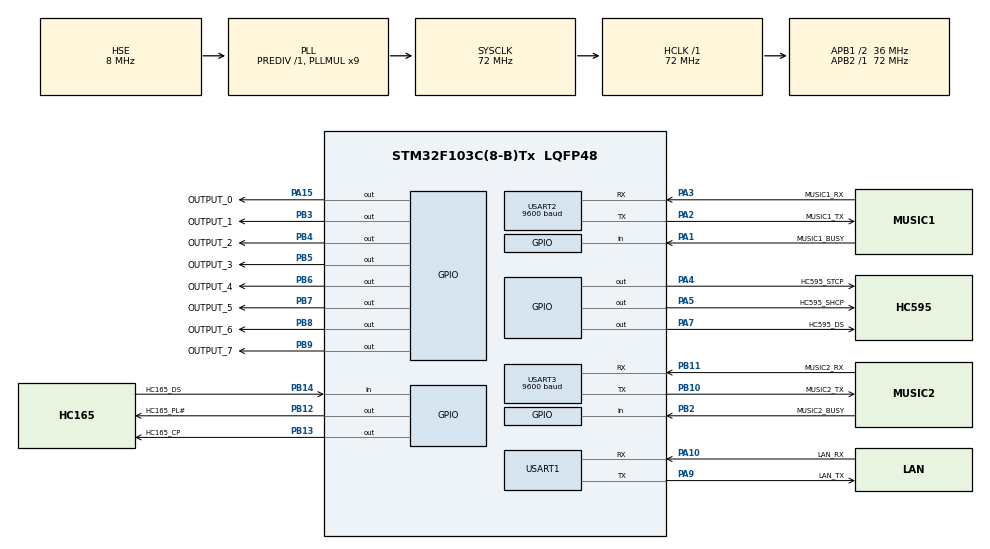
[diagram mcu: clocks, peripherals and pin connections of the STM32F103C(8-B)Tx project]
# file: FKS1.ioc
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FREERTOS.Tasks01=defaultTask,0,128,StartDefaultTask,Default,NULL,Dynamic,NULL,NULL;Uart1ReadHandle,3,128,Uart1ReadHandler,Default,NULL,Dynamic,NULL,NULL;GPIOTask,-1,128,StartGPIOTask,As weak,NULL,Dynamic,NULL,NULL;musicTask,-3,256,StartMusicTask,As weak,NULL,Dynamic,NULL,NULL;myASCTask,-3,128,StartASCTask,As weak,NULL,Dynamic,NULL,NULL;GameFlagTask,-3,128,StartGameFlagTask,As weak,NULL,Dynamic,NULL,NULL;GameTask,-3,128,StartGameTask,As weak,NULL,Dynamic,NULL,NULL;BoxTask,-3,128,StartBoxTask,As weak,NULL,Dynamic,NULL,NULL;DoorTask,-3,128,StartDoorTask,As weak,NULL,Dynamic,NULL,NULL
FREERTOS.configTOTAL_HEAP_SIZE=11264
FREERTOS.configUSE_NEWLIB_REENTRANT=0
Mcu.Family=STM32F1
Mcu.Name=STM32F103C(8-B)Tx
Mcu.Package=LQFP48
NVIC.PriorityGroup=NVIC_PRIORITYGROUP_4
NVIC.TIM2_IRQn=true\:15\:0\:false\:false\:true\:false\:false\:true\:true
NVIC.TimeBase=TIM2_IRQn
NVIC.TimeBaseIP=TIM2
NVIC.USART1_IRQn=true\:5\:0\:false\:false\:true\:true\:true\:true\:true
NVIC.USART2_IRQn=true\:5\:0\:false\:false\:true\:true\:true\:true\:true
NVIC.USART3_IRQn=true\:5\:0\:false\:false\:true\:true\:true\:true\:true
PA1.GPIO_Label=MUSIC1_BUSY
PA1.GPIO_PuPd=GPIO_PULLUP
PA1.Signal=GPIO_Input
PA10.GPIO_Label=LAN_RX
PA10.Mode=Asynchronous
PA10.Signal=USART1_RX
PA13.GPIO_Label=SWDIO
PA13.Mode=Serial_Wire
PA13.Signal=SYS_JTMS-SWDIO
PA14.GPIO_Label=SWCLK
PA14.Mode=Serial_Wire
PA14.Signal=SYS_JTCK-SWCLK
PA15.GPIO_Label=OUTPUT_0
PA15.Signal=GPIO_Output
PA2.GPIO_Label=MUSIC1_TX
PA2.Mode=Asynchronous
PA2.Signal=USART2_TX
PA3.GPIO_Label=MUSIC1_RX
PA3.Mode=Asynchronous
PA3.Signal=USART2_RX
PA4.GPIO_Label=HC595_STCP
PA4.Signal=GPIO_Output
PA5.GPIO_Label=HC595_SHCP
PA5.Signal=GPIO_Output
PA7.GPIO_Label=HC595_DS
PA7.Signal=GPIO_Output
PA9.GPIO_Label=LAN_TX
PA9.Mode=Asynchronous
PA9.Signal=USART1_TX
PB10.GPIO_Label=MUSIC2_TX
PB10.Mode=Asynchronous
PB10.Signal=USART3_TX
PB11.GPIO_Label=MUSIC2_RX
PB11.Mode=Asynchronous
PB11.Signal=USART3_RX
PB12.GPIO_Label=HC165_PL\#
PB12.Signal=GPIO_Output
PB13.GPIO_Label=HC165_CP
PB13.Signal=GPIO_Output
PB14.GPIO_Label=HC165_DS
PB14.GPIO_PuPd=GPIO_PULLUP
PB14.Signal=GPIO_Input
PB2.GPIO_Label=MUSIC2_BUSY
PB2.GPIO_PuPd=GPIO_PULLUP
PB2.Signal=GPIO_Input
PB3.GPIO_Label=OUTPUT_1
PB3.Signal=GPIO_Output
PB4.GPIO_Label=OUTPUT_2
PB4.Signal=GPIO_Output
PB5.GPIO_Label=OUTPUT_3
PB5.Signal=GPIO_Output
PB6.GPIO_Label=OUTPUT_4
PB6.Signal=GPIO_Output
PB7.GPIO_Label=OUTPUT_5
PB7.Signal=GPIO_Output
PB8.GPIO_Label=OUTPUT_6
PB8.Signal=GPIO_Output
PB9.GPIO_Label=OUTPUT_7
PB9.Signal=GPIO_Output
PD0-OSC_IN.GPIO_Label=OSC8_IN
PD0-OSC_IN.Mode=HSE-External-Oscillator
PD0-OSC_IN.Signal=RCC_OSC_IN
PD1-OSC_OUT.GPIO_Label=OSC8_OUT
PD1-OSC_OUT.Mode=HSE-External-Oscillator
PD1-OSC_OUT.Signal=RCC_OSC_OUT
ProjectManager.HeapSize=0x200
ProjectManager.StackSize=0x400
ProjectManager.TargetToolchain=STM32CubeIDE
RCC.AHBFreq_Value=72000000
RCC.APB1CLKDivider=RCC_HCLK_DIV2
RCC.APB1Freq_Value=36000000
RCC.APB1TimFreq_Value=72000000
RCC.APB2Freq_Value=72000000
RCC.APB2TimFreq_Value=72000000
RCC.HCLKFreq_Value=72000000
RCC.PLLMUL=RCC_PLL_MUL9
RCC.PLLSourceVirtual=RCC_PLLSOURCE_HSE
RCC.SYSCLKFreq_VALUE=72000000
RCC.SYSCLKSource=RCC_SYSCLKSOURCE_PLLCLK
RCC.USBFreq_Value=72000000
USART1.VirtualMode=VM_ASYNC
USART2.BaudRate=9600
USART2.VirtualMode=VM_ASYNC
USART3.BaudRate=9600
USART3.VirtualMode=VM_ASYNC
VP_FREERTOS_VS_CMSIS_V1.Mode=CMSIS_V1
VP_RTC_VS_RTC_Activate.Mode=RTC_Enabled
VP_RTC_VS_RTC_Calendar.Mode=RTC_Calendar
VP_SYS_VS_tim2.Mode=TIM2
board=custom

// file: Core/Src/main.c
/* USER CODE BEGIN Header */
/**
  ******************************************************************************
  * @file           : main.c
  * @brief          : Main program body
  ******************************************************************************
  * @attention
  *
  * Copyright (c) 2023 STMicroelectronics.
  * All rights reserved.
  *
  * This software is licensed under terms that can be found in the LICENSE file
  * in the root directory of this software component.
  * If no LICENSE file comes with this software, it is provided AS-IS.
  *
  ******************************************************************************
  */
/* USER CODE END Header */
#include "main.h"
#include "cmsis_os.h"
#include "rtc.h"
#include "usart.h"
#include "gpio.h"

/* USER CODE BEGIN PV */

uint8_t uart1RxBuffer[32];
uint8_t uart1RxIndex = 0;

uint8_t uart2RxBuffer[32];
uint8_t uart2RxIndex = 0;

uint8_t uart3RxBuffer[32];
uint8_t uart3RxIndex = 0;

/* USER CODE END PV */

void SystemClock_Config(void);
void MX_FREERTOS_Init(void);

int main(void)
{

  /* MCU Configuration--------------------------------------------------------*/

  /* Reset of all peripherals, Initializes the Flash interface and the Systick. */
  HAL_Init();

  /* Configure the system clock */
  SystemClock_Config();

  /* Initialize all configured peripherals */
  MX_GPIO_Init();
  MX_USART1_UART_Init();
  MX_USART2_UART_Init();
  MX_USART3_UART_Init();
  MX_RTC_Init();
  /* USER CODE BEGIN 2 */

    //START UART RECEIVE IT
    HAL_UART_Receive_IT(&huart1, uart1RxBuffer, 1);
    HAL_UART_Receive_IT(&huart2, uart2RxBuffer, 1);
    HAL_UART_Receive_IT(&huart3, uart3RxBuffer, 1);

  /* USER CODE END 2 */

  /* Call init function for freertos objects (in freertos.c) */
  MX_FREERTOS_Init();

  /* Start scheduler */
  osKernelStart();

  /* We should never get here as control is now taken by the scheduler */
  /* Infinite loop */
  while (1)
  {

  }
}

void SystemClock_Config(void)
{
  RCC_OscInitTypeDef RCC_OscInitStruct = {0};
  RCC_ClkInitTypeDef RCC_ClkInitStruct = {0};
  RCC_PeriphCLKInitTypeDef PeriphClkInit = {0};

  /** Initializes the RCC Oscillators according to the specified parameters
  * in the RCC_OscInitTypeDef structure.
  */
  RCC_OscInitStruct.OscillatorType = RCC_OSCILLATORTYPE_LSI|RCC_OSCILLATORTYPE_HSE;
  RCC_OscInitStruct.HSEState = RCC_HSE_ON;
  RCC_OscInitStruct.HSEPredivValue = RCC_HSE_PREDIV_DIV1;
  RCC_OscInitStruct.HSIState = RCC_HSI_ON;
  RCC_OscInitStruct.LSIState = RCC_LSI_ON;
  RCC_OscInitStruct.PLL.PLLState = RCC_PLL_ON;
  RCC_OscInitStruct.PLL.PLLSource = RCC_PLLSOURCE_HSE;
  RCC_OscInitStruct.PLL.PLLMUL = RCC_PLL_MUL9;
  if (HAL_RCC_OscConfig(&RCC_OscInitStruct) != HAL_OK)
  {
    Error_Handler();
  }

  /** Initializes the CPU, AHB and APB buses clocks
  */
  RCC_ClkInitStruct.ClockType = RCC_CLOCKTYPE_HCLK|RCC_CLOCKTYPE_SYSCLK
                              |RCC_CLOCKTYPE_PCLK1|RCC_CLOCKTYPE_PCLK2;
  RCC_ClkInitStruct.SYSCLKSource = RCC_SYSCLKSOURCE_PLLCLK;
  RCC_ClkInitStruct.AHBCLKDivider = RCC_SYSCLK_DIV1;
  RCC_ClkInitStruct.APB1CLKDivider = RCC_HCLK_DIV2;
  RCC_ClkInitStruct.APB2CLKDivider = RCC_HCLK_DIV1;

  if (HAL_RCC_ClockConfig(&RCC_ClkInitStruct, FLASH_LATENCY_2) != HAL_OK)
  {
    Error_Handler();
  }
  PeriphClkInit.PeriphClockSelection = RCC_PERIPHCLK_RTC;
  PeriphClkInit.RTCClockSelection = RCC_RTCCLKSOURCE_LSI;
  if (HAL_RCCEx_PeriphCLKConfig(&PeriphClkInit) != HAL_OK)
  {
    Error_Handler();
  }
}

void HAL_TIM_PeriodElapsedCallback(TIM_HandleTypeDef *htim)
{
  if (htim->Instance == TIM2) {
    HAL_IncTick();
  }
}

void Error_Handler(void)
{
  __disable_irq();
  while (1)
  {
  }
}

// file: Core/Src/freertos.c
/* USER CODE BEGIN Header */
/**
  ******************************************************************************
  * File Name          : freertos.c
  * Description        : Code for freertos applications
  ******************************************************************************
  * @attention
  *
  * Copyright (c) 2023 STMicroelectronics.
  * All rights reserved.
  *
  * This software is licensed under terms that can be found in the LICENSE file
  * in the root directory of this software component.
  * If no LICENSE file comes with this software, it is provided AS-IS.
  *
  ******************************************************************************
  */
/* USER CODE END Header */

#include "FreeRTOS.h"
#include "task.h"
#include "main.h"
#include "cmsis_os.h"

/* USER CODE BEGIN Includes */
#include <string.h>
#include "queue.h"
#include "gpio.h"
#include "music.h"
#include "user.h"
/* USER CODE END Includes */

/* USER CODE BEGIN PD */
#define CMD_OUTPUT 0x02
#define CMD_MUSIC1 0x03
#define CMD_MUSIC2 0x04
/* USER CODE END PD */

/* USER CODE BEGIN Variables */

QueueHandle_t Uart1RxMsgQueueHandle;
QueueHandle_t OutputMessageQueueHandle;
QueueHandle_t MusicMessageQueueHandle;
QueueHandle_t MusicUartMessageQueueHandle;
QueueHandle_t GameMessageQueueHandle;

SemaphoreHandle_t xConnectSemaphore;

//Input Event 0-15Bit UP  16-31 DOWN
EventGroupHandle_t InputEventGroup[(INPUT_NUM / 24) + 1];

//Music Event 0-15Bit Music1  16-31Bit Music2
EventGroupHandle_t MusicEventGroup;

/* USER CODE END Variables */
osThreadId defaultTaskHandle;
osThreadId Uart1ReadHandleHandle;
osThreadId GPIOTaskHandle;
osThreadId musicTaskHandle;
osThreadId myASCTaskHandle;
osThreadId GameFlagTaskHandle;
osThreadId GameTaskHandle;

void StartDefaultTask(void const * argument);
void Uart1ReadHandler(void const * argument);
void StartGPIOTask(void const * argument);
void StartMusicTask(void const * argument);
void StartASCTask(void const * argument);
void StartGameFlagTask(void const * argument);
void StartGameTask(void const * argument);

void MX_FREERTOS_Init(void); /* (MISRA C 2004 rule 8.1) */

/* GetIdleTaskMemory prototype (linked to static allocation support) */
void vApplicationGetIdleTaskMemory( StaticTask_t **ppxIdleTaskTCBBuffer, StackType_t **ppxIdleTaskStackBuffer, uint32_t *pulIdleTaskStackSize );

/* USER CODE BEGIN GET_IDLE_TASK_MEMORY */
static StaticTask_t xIdleTaskTCBBuffer;
static StackType_t xIdleStack[configMINIMAL_STACK_SIZE];

void vApplicationGetIdleTaskMemory( StaticTask_t **ppxIdleTaskTCBBuffer, StackType_t **ppxIdleTaskStackBuffer, uint32_t *pulIdleTaskStackSize )
{
  *ppxIdleTaskTCBBuffer = &xIdleTaskTCBBuffer;
  *ppxIdleTaskStackBuffer = &xIdleStack[0];
  *pulIdleTaskStackSize = configMINIMAL_STACK_SIZE;
  /* place for user code */
}

/* USER CODE END GET_IDLE_TASK_MEMORY */

void MX_FREERTOS_Init(void) {

  /* USER CODE BEGIN RTOS_TIMERS */
  /* start timers, add new ones, ... */
    for (int i = 0; i <= INPUT_NUM / 24; ++i) {

        InputEventGroup[i] = xEventGroupCreate();
    }
    MusicEventGroup = xEventGroupCreate();
    GameInit();
    xConnectSemaphore = xSemaphoreCreateBinary();
  /* USER CODE END RTOS_TIMERS */

  /* USER CODE BEGIN RTOS_QUEUES */
  /* add queues, ... */
    Uart1RxMsgQueueHandle = xQueueCreate(15, sizeof(UartMessage));  // 创建队列，可以容�???????????????????10个uint8_t大小的元�???????????????????
    MusicUartMessageQueueHandle = xQueueCreate(15, sizeof(UartMessage));  // 创建队列，可以容�???????????????????10个uint8_t大小的元�???????????????????
    OutputMessageQueueHandle = xQueueCreate(128, sizeof(GPIOMessage));  // 创建队列，可以容�???????????????????10个uint8_t大小的元�???????????????????
    MusicMessageQueueHandle = xQueueCreate(15, sizeof(MusicMessage));  // 创建队列，可以容�???????????????????10个uint8_t大小的元�???????????????????
    GameMessageQueueHandle = xQueueCreate(15, sizeof(GameMessage));  // 创建队列，可以容�???????????????????10个uint8_t大小的元�???????????????????
  /* USER CODE END RTOS_QUEUES */

  /* Create the thread(s) */
  /* definition and creation of defaultTask */
  osThreadDef(defaultTask, StartDefaultTask, osPriorityNormal, 0, 128);
  defaultTaskHandle = osThreadCreate(osThread(defaultTask), NULL);

  /* definition and creation of Uart1ReadHandle */
  osThreadDef(Uart1ReadHandle, Uart1ReadHandler, osPriorityRealtime, 0, 128);
  Uart1ReadHandleHandle = osThreadCreate(osThread(Uart1ReadHandle), NULL);

  /* definition and creation of GPIOTask */
  osThreadDef(GPIOTask, StartGPIOTask, osPriorityBelowNormal, 0, 128);
  GPIOTaskHandle = osThreadCreate(osThread(GPIOTask), NULL);

  /* definition and creation of musicTask */
  osThreadDef(musicTask, StartMusicTask, osPriorityIdle, 0, 256);
  musicTaskHandle = osThreadCreate(osThread(musicTask), NULL);

  /* definition and creation of myASCTask */
  osThreadDef(myASCTask, StartASCTask, osPriorityIdle, 0, 128);
  myASCTaskHandle = osThreadCreate(osThread(myASCTask), NULL);

  /* definition and creation of GameFlagTask */
  osThreadDef(GameFlagTask, StartGameFlagTask, osPriorityIdle, 0, 128);
  GameFlagTaskHandle = osThreadCreate(osThread(GameFlagTask), NULL);

  /* definition and creation of GameTask */
  osThreadDef(GameTask, StartGameTask, osPriorityIdle, 0, 128);
  GameTaskHandle = osThreadCreate(osThread(GameTask), NULL);

}

void StartDefaultTask(void const * argument)
{
  for(;;)
  {
    osDelay(1);
  }
}

void Uart1ReadHandler(void const * argument)
{
  /* USER CODE BEGIN Uart1ReadHandler */
    UartMessage newMessage;
  /* Infinite loop */
    for (;;)
  {
      if (xQueueReceive(Uart1RxMsgQueueHandle, &newMessage, portMAX_DELAY) == pdTRUE)
      {
          // 处理接收到的数据
          switch (newMessage.data[1]) {

              case 0x01:
              {
                  if(newMessage.data[3]==0x01)
                    xEventGroupSetBits(InputEventGroup[newMessage.data[2] / 32], (1 << (newMessage.data[2] % 32)));
                  else if(newMessage.data[3]==0x00)
                      xEventGroupClearBits(InputEventGroup[newMessage.data[2] / 32], (1 << (newMessage.data[2] % 32)));
                  break;
              }
              case CMD_OUTPUT:
              {
                  GPIOMessage OutputMessage = {
                          .GPIO_Pin = newMessage.data[2],
                          .PinState = (newMessage.data[3] == 0)?GPIO_PIN_RESET:GPIO_PIN_SET,
                  };
                  BaseType_t result = xQueueSend(OutputMessageQueueHandle,&OutputMessage,0);
                  if (result != pdPASS)
                  {
                      newMessage.data[0]=0xEE;
                      HAL_UART_Transmit(&huart1,newMessage.data,newMessage.length,HAL_MAX_DELAY);
                  }
                  break;
              }

              case CMD_MUSIC1:
              {
                  // 0xCC CMD MUSIC_CMD DATA0 DATA1 DATA2... 0xFF

                  MusicMessage MusicMessage;
                  MusicMessage.huart = &MUSIC_1;
                  MusicMessage.CMD = newMessage.data[2];
                  MusicMessage.DataLength = newMessage.length-4;
                  memcpy(MusicMessage.Data,&newMessage.data[3],MusicMessage.DataLength);
                  BaseType_t result = xQueueSend(MusicMessageQueueHandle,&MusicMessage,0);
                  if (result != pdPASS)
                  {
                      newMessage.data[0]=0xEE;
                      HAL_UART_Transmit(&huart1,newMessage.data,newMessage.length,HAL_MAX_DELAY);
                  }

                  break;
              }
              case CMD_MUSIC2:
              {
// 0xCC CMD MUSIC_CMD DATA0 DATA1 DATA2... 0xFF

                  MusicMessage MusicMessage;
                  MusicMessage.huart = &MUSIC_2;
                  MusicMessage.CMD = newMessage.data[2];
                  MusicMessage.DataLength = newMessage.length-4;
                  memcpy(MusicMessage.Data,&newMessage.data[3],MusicMessage.DataLength);
                  BaseType_t result = xQueueSend(MusicMessageQueueHandle,&MusicMessage,0);
                  if (result != pdPASS)
                  {
                      newMessage.data[0]=0xEE;
                      HAL_UART_Transmit(&huart1,newMessage.data,newMessage.length,HAL_MAX_DELAY);
                  }

                  break;
              }
              case 0x05:
              {
                  GameMessage newGameMessage;
                  newGameMessage.num = newMessage.data[2];
                  newGameMessage.Data = newMessage.data[3];
                  xQueueSend(GameMessageQueueHandle,&newGameMessage,0);
                  break;
              }
              case 0x10:
              {
                  xSemaphoreGive(xConnectSemaphore);
                  break;
              }
              default:
                  break;
          }
      }

  }
  /* USER CODE END Uart1ReadHandler */
}

__weak void StartGPIOTask(void const * argument)
{
  for(;;)
  {
    osDelay(1);
  }
}

__weak void StartMusicTask(void const * argument)
{
  for(;;)
  {
    osDelay(1);
  }
}

__weak void StartASCTask(void const * argument)
{
  for(;;)
  {
    osDelay(1);
  }
}

__weak void StartGameFlagTask(void const * argument)
{
  for(;;)
  {
    osDelay(1);
  }
}

__weak void StartGameTask(void const * argument)
{
  for(;;)
  {
    osDelay(1);
  }
}
